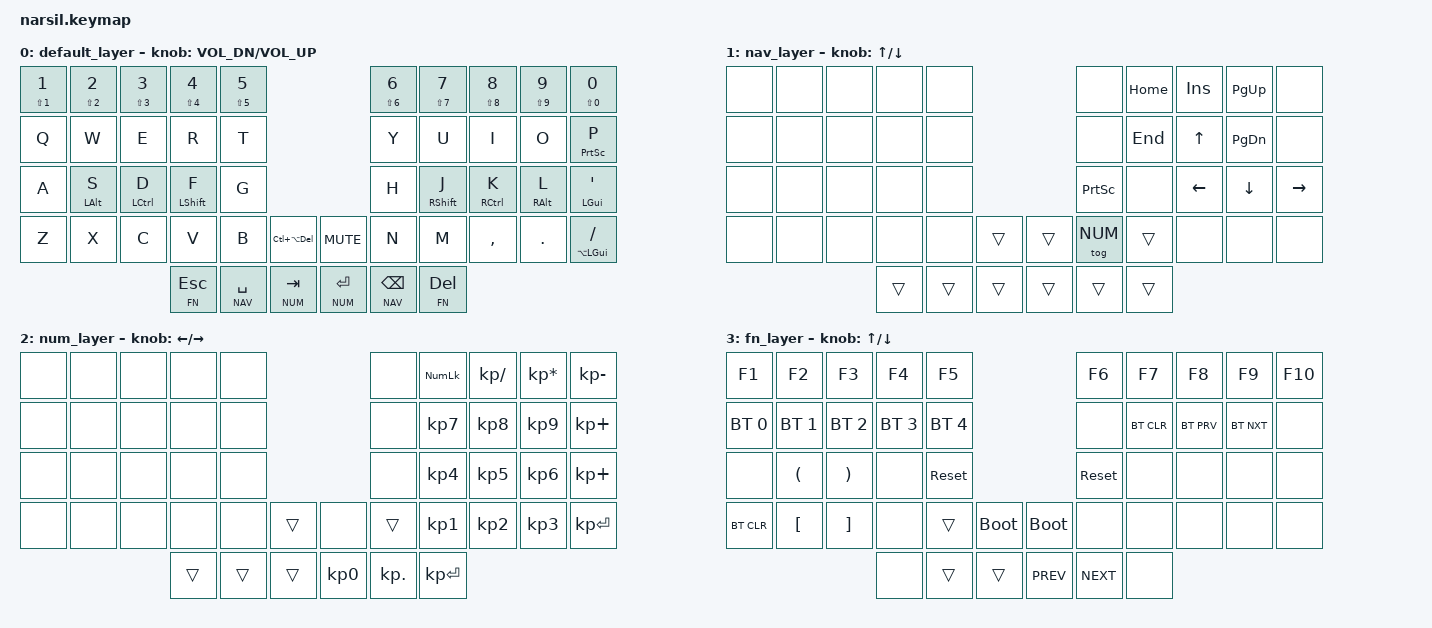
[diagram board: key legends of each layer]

  /*
  * Copyright (c) 2020 The ZMK Contributors
  *
  * SPDX-License-Identifier: MIT
  */

  #include <behaviors.dtsi>
  #include <dt-bindings/zmk/keys.h>
  #include <dt-bindings/zmk/bt.h>
  #include <dt-bindings/zmk/ext_power.h>

  #define DEFAULT 0
  #define NAV     1
  #define FN      2
  #define NUM     3

&mt {
    quick-tap-ms = <100>;
    global-quick-tap;
    flavor = "tap-preferred";
    tapping-term-ms = <180>;
};



/ {
    behaviors {
        pht: positional_hold_tap {
            compatible = "zmk,behavior-hold-tap";
            label = "POSITIONAL_HOLD_TAP";
            #binding-cells = <2>;
            flavor = "hold-preferred";
            tapping-term-ms = <400>;
            quick-tap-ms = <200>;
            bindings = <&kp>, <&kp>;
            hold-trigger-key-positions = <1>;    // <---[[the W key]]
        };
        gqt: global-quick-tap {
            compatible = "zmk,behavior-hold-tap";
            label = "GLOBAL_QUICK_TAP";
            #binding-cells = <2>;
            flavor = "tap-preferred";
            tapping-term-ms = <200>;
            quick-tap-ms = <125>;
            global-quick-tap;
            bindings = <&kp>, <&kp>;
        };
    };
};
  &sk {
    release-after-ms = <2000>;
    quick-release;
    /delete-property/ ignore-modifiers;
  };

  / {
    keymap {
      compatible = "zmk,keymap";
        default_layer {
// -------------------------------------------------------------------------------------------------
// | 1     | 2    | 3    | 4   | 5   |                               | 6   | 7   | 8   | 9   | 0   |
// | Q     | W    | E    | R   | T   |                               | Y   | U   | I   | O   | P   |
// | A     | S    | D    | F   | G   |                               | H   | J   | K   | L   | ;   |
// | Z     | X    | C    | V   | B   |  C/A/D   |           | PG_UP  | N   | M   | ,   | .   | /   |
//                       | LGUI | SPACE | BSPC  |   | LtNAV END | LtNAV PG_DN | DEL |
          bindings = <
    &gqt LS(N1) N1 &gqt LS(N2) N2 &gqt LS(N3) N3 &gqt LS(N4) N4 &gqt LS(N5) N5 &gqt LS(N6) N6 &gqt LS(N7) N7 &gqt LS(N8) N8 &gqt LS(N9) N9 &gqt LS(N0) N0 
    &kp Q     &kp W     &kp E         &kp R        &kp T                  &kp Y    &kp U    &kp I     &kp O    &gqt PSCRN P   
    &kp A  &mt LALT S  &mt LCTRL D  &mt LSHFT F    &kp G                  &kp H  &mt RSHFT J  &mt RCTRL K  &mt RALT L  &mt LGUI SQT 
    &kp Z     &kp X     &kp C     &kp V     &kp B  &kp LC(LA(DEL))     &kp C_MUTE    &kp N    &kp M  &kp COMMA  &kp DOT  &gqt LA(LGUI) FSLH 
                            &lt FN ESC  &lt NAV SPACE  &lt NUM TAB   &lt NUM RET &lt NAV BSPC &lt FN DEL   
          >;
          sensor-bindings = <&inc_dec_kp C_VOL_DN C_VOL_UP>;
        };

        nav_layer {
// -------------------------------------------------------------------------------------------------
// | none  | none  | none  | none  | none |                  | none  | HOME | INS  | PG_UP | none  | 
// | none  | none  | none  | none  | none |                  | none  | END  | UP   | PG_DN | none  | 
// | none  | none  | none  | none  | none |                  | none  | LEFT | DOWN | RIGHT | none  | 
// | none  | none  | none  | none  | none | trans |  | trans | none  | none | none | none  | none  | 
//                         | trans | trans| trans |  | trans | trans | trans|      
          bindings = <
    &none  &none  &none  &none  &none                   &none     &kp HOME   &kp INS  &kp PG_UP &none  
    &none  &none  &none  &none  &none                   &none     &kp END    &kp UP   &kp PG_DN &none  
    &none  &none  &none  &none  &none                   &kp PSCRN &none      &kp LEFT &kp DOWN  &kp RIGHT 
    &none  &none  &none  &none  &none  &trans  &trans   &tog NUM  &trans     &none    &none     &none   
                         &trans &trans &trans  &trans   &trans    &trans
          >;

          sensor-bindings = <&inc_dec_kp UP DOWN>;
        };

        num_layer {
// -------------------------------------------------------------------------------------------------
//  | none | none  | none  | none  | none |                  | none  | NUMLOCK | /   | *   | -     | 
//  | none | none  | none  | none  | none |                  | none  | 7       | 8   | 9   | +     | 
//  | none | none  | none  | none  | none |                  | none  | 4       | 5   | 6   | +     | 
//  | none | none  | none  | none  | none | trans |  | trans | none  | 1       | 2   | 3   | ENTER | 
//                         | trans | trans| trans |  |    0  | .     | ENTER   | 
          bindings = <
   &none &none  &none  &none  &none                       &none       &kp KP_NUM &kp KP_SLASH &kp KP_ASTERISK &kp KP_MINUS 
   &none &none  &none  &none  &none                       &none       &kp KP_N7  &kp KP_N8    &kp KP_N9       &kp KP_PLUS 
   &none &none  &none  &none  &none                       &none       &kp KP_N4  &kp KP_N5    &kp KP_N6       &kp KP_PLUS  
   &none &none  &none  &none  &none  &trans     &none   &trans      &kp KP_N1  &kp KP_N2    &kp KP_N3       &kp KP_ENTER 
                       &trans &trans &trans     &kp KP_N0 &kp KP_DOT  &kp KP_ENTER      
          >;

          sensor-bindings = <&inc_dec_kp LEFT RIGHT>;
        };

        fn_layer {
// ---------------------------------------------------------------------------------------------------------------
// | F1   | F2    | F3    | F4    | F5         |                      | F6    | F7     | F8     | F9      | F10  |
// |&bt BT_SEL 0| &bt BT_SEL 1| &bt BT_SEL 2| &bt BT_SEL 3| &bt BT_SEL 4       |                      | none  | BT_CLR | BT_PRV | BT_NXT  | none |
// | none | (     | )     | none  | reset      |                      | reset | none   | none   | none    | none |
// | none | [     | ]     | none  | bootloader | trans | | bootloader | none  | none   | none   | none    | none |
//                        | trans | trans      | trans | |   trans    | trans | trans  | 
          bindings = <
    &kp F1       &kp F2        &kp F3      &kp F4       &kp F5                          &kp F6      &kp F7      &kp F8     &kp F9     &kp F10 
    &bt BT_SEL 0 &bt BT_SEL 1 &bt BT_SEL 2 &bt BT_SEL 3 &bt BT_SEL 4                    &none       &bt BT_CLR  &bt BT_PRV &bt BT_NXT &none   
    &none  &kp LPAR    &kp RPAR    &none  &sys_reset                                    &sys_reset  &none       &none      &none      &none
    &bt BT_CLR  &kp LBKT    &kp RBKT    &none  &trans   &bootloader              &bootloader &none       &none       &none      &none      &none 
                                   &none  &trans   &trans                     &kp C_PREV &kp C_NEXT &none
          >;

          sensor-bindings = <&inc_dec_kp UP DOWN>;
        };
    };
  };


